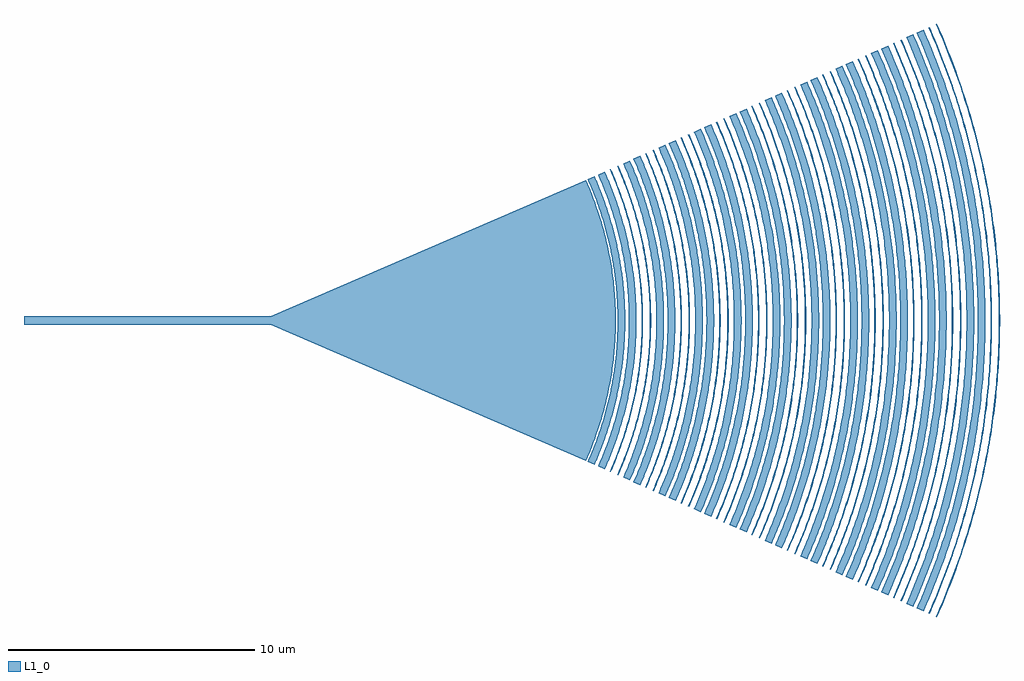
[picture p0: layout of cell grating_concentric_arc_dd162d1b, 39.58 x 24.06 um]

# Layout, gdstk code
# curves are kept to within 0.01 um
import gdstk
lib = gdstk.Library(unit=1e-6, precision=2e-09)
def R(c, l, rs):  # rectangles x0, y0, x1, y1
    for r in rs: c.add(gdstk.rectangle(r[:2], r[2:], *l))
def P(c, l, *ps):  # polygons
    for p in ps: c.add(gdstk.Polygon(p, *l))
L1_0 = (1, 0)

straight_3aa2beef = lib.new_cell('straight_3aa2beef')
R(straight_3aa2beef, L1_0, [(0,-0.174,10,0.174)])

ring_bf5ba368_transform_ = lib.new_cell('ring_bf5ba368_transform_f8fbc0c1')
P(ring_bf5ba368_transform_, L1_0, [(12.86,-5.726),(13.142,-5.044),(13.388,-4.35),(13.576,-3.722),(13.752,-3.006),(13.89,-2.282),(13.982,-1.634),(14.048,-0.9),(14.076,-0.164),(14.062,0.654),(14.016,1.308),(13.916,2.122),(13.786,2.846),(13.618,3.564),(13.388,4.35),(13.142,5.044),(12.86,5.726),(13.138,5.85),(13.456,5.076),(13.678,4.444),(13.892,3.722),(14.084,2.908),(14.242,2.002),(14.334,1.17),(14.378,0.334),(14.378,-0.334),(14.334,-1.17),(14.23,-2.084),(14.05,-3.072),(13.87,-3.802),(13.57,-4.762),(13.366,-5.31),(13.138,-5.85)])

ring_9eca35da_transform_ = lib.new_cell('ring_9eca35da_transform_1195cf25')
P(ring_9eca35da_transform_, L1_0, [(13.278,-5.912),(13.538,-5.288),(13.77,-4.652),(13.948,-4.088),(14.162,-3.27),(14.328,-2.44),(14.426,-1.772),(14.51,-0.846),(14.532,-0.254),(14.528,0.422),(14.486,1.182),(14.368,2.19),(14.234,2.938),(14.082,3.598),(13.822,4.492),(13.538,5.288),(13.278,5.912),(13.556,6.036),(13.822,5.398),(14.086,4.668),(14.354,3.758),(14.55,2.916),(14.694,2.066),(14.79,1.208),(14.834,0.346),(14.83,-0.518),(14.758,-1.552),(14.656,-2.322),(14.478,-3.254),(14.264,-4.09),(13.944,-5.076),(13.556,-6.036)])

ring_5c883659_transform_ = lib.new_cell('ring_5c883659_transform_ef72cd30')
P(ring_5c883659_transform_, L1_0, [(13.754,-6.124),(13.926,-5.722),(14.056,-5.396),(14.292,-4.736),(14.424,-4.318),(14.52,-3.982),(14.69,-3.302),(14.78,-2.872),(14.842,-2.528),(14.91,-2.096),(14.974,-1.574),(15.02,-1.05),(15.036,-0.788),(15.056,-0.088),(15.05,0.438),(15.036,0.788),(15.02,1.05),(14.974,1.574),(14.91,2.096),(14.78,2.872),(14.63,3.558),(14.52,3.982),(14.424,4.318),(14.292,4.736),(14.118,5.232),(13.96,5.64),(13.754,6.124),(13.796,6.142),(13.936,5.82),(14.1,5.412),(14.222,5.082),(14.364,4.666),(14.518,4.162),(14.61,3.824),(14.716,3.398),(14.808,2.968),(14.93,2.276),(15.02,1.578),(15.06,1.142),(15.082,0.79),(15.102,0.176),(15.102,-0.176),(15.094,-0.528),(15.072,-0.966),(15.02,-1.578),(14.99,-1.84),(14.93,-2.276),(14.858,-2.708),(14.716,-3.398),(14.518,-4.162),(14.364,-4.666),(14.222,-5.082),(14.036,-5.576),(13.868,-5.982),(13.796,-6.142)])

ring_19416ff2_transform_ = lib.new_cell('ring_19416ff2_transform_74f79052')
P(ring_19416ff2_transform_, L1_0, [(14.054,-6.258),(14.298,-5.68),(14.426,-5.346),(14.604,-4.84),(14.764,-4.326),(14.884,-3.896),(15.03,-3.286),(15.166,-2.584),(15.27,-1.874),(15.31,-1.52),(15.346,-1.074),(15.376,-0.536),(15.384,-0.18),(15.376,0.536),(15.364,0.806),(15.31,1.52),(15.222,2.23),(15.102,2.936),(15.03,3.286),(14.928,3.722),(14.764,4.326),(14.604,4.84),(14.426,5.346),(14.264,5.764),(14.054,6.258),(14.096,6.276),(14.24,5.946),(14.374,5.614),(14.53,5.194),(14.704,4.684),(14.906,3.994),(15.016,3.558),(15.094,3.208),(15.148,2.944),(15.242,2.414),(15.294,2.058),(15.356,1.524),(15.41,0.808),(15.432,0),(15.41,-0.808),(15.356,-1.524),(15.294,-2.058),(15.242,-2.414),(15.148,-2.944),(15.056,-3.384),(14.928,-3.908),(14.834,-4.254),(14.62,-4.938),(14.374,-5.614),(14.17,-6.112),(14.096,-6.276)])

ring_ba88b84a_transform_ = lib.new_cell('ring_ba88b84a_transform_d4c79ce2')
P(ring_ba88b84a_transform_, L1_0, [(14.296,-6.364),(14.576,-5.692),(14.826,-5.008),(15.092,-4.138),(15.288,-3.342),(15.442,-2.538),(15.532,-1.908),(15.604,-1.182),(15.648,-0.182),(15.636,0.638),(15.572,1.546),(15.484,2.268),(15.326,3.164),(15.116,4.05),(14.882,4.836),(14.642,5.522),(14.296,6.364),(14.574,6.488),(14.894,5.718),(15.144,5.018),(15.434,4.04),(15.624,3.226),(15.772,2.404),(15.876,1.576),(15.944,0.556),(15.948,-0.372),(15.932,-0.834),(15.876,-1.576),(15.772,-2.404),(15.624,-3.226),(15.386,-4.218),(15.144,-5.018),(14.992,-5.456),(14.574,-6.488)])

ring_bd938e3c_transform_ = lib.new_cell('ring_bd938e3c_transform_604e341a')
P(ring_bd938e3c_transform_, L1_0, [(14.714,-6.55),(15.07,-5.684),(15.318,-4.976),(15.508,-4.35),(15.714,-3.532),(15.878,-2.704),(15.986,-1.962),(16.06,-1.216),(16.104,-0.282),(16.096,0.562),(16.036,1.498),(15.936,2.334),(15.792,3.166),(15.604,3.988),(15.318,4.976),(15.07,5.684),(14.714,6.55),(14.992,6.674),(15.32,5.882),(15.666,4.89),(15.924,3.97),(16.11,3.132),(16.264,2.19),(16.364,1.24),(16.404,0.478),(16.404,-0.478),(16.34,-1.526),(16.238,-2.378),(16.072,-3.318),(15.852,-4.248),(15.666,-4.89),(15.486,-5.432),(15.252,-6.058),(14.992,-6.674)])

ring_3305d706_transform_ = lib.new_cell('ring_3305d706_transform_2c88f9b2')
P(ring_3305d706_transform_, L1_0, [(15.19,-6.764),(15.344,-6.408),(15.524,-5.958),(15.754,-5.322),(15.984,-4.584),(16.062,-4.304),(16.224,-3.646),(16.376,-2.888),(16.424,-2.602),(16.516,-1.93),(16.556,-1.546),(16.6,-0.966),(16.618,-0.58),(16.628,-0.096),(16.626,0.29),(16.61,0.774),(16.588,1.16),(16.556,1.546),(16.516,1.93),(16.424,2.602),(16.304,3.268),(16.224,3.646),(16.134,4.022),(16.062,4.304),(15.902,4.862),(15.754,5.322),(15.626,5.688),(15.418,6.228),(15.19,6.764),(15.232,6.782),(15.424,6.336),(15.602,5.884),(15.798,5.336),(15.918,4.968),(16.132,4.222),(16.226,3.846),(16.35,3.276),(16.422,2.896),(16.526,2.224),(16.612,1.454),(16.652,0.872),(16.668,0.484),(16.674,-0.194),(16.664,-0.582),(16.634,-1.164),(16.612,-1.454),(16.562,-1.936),(16.526,-2.224),(16.422,-2.896),(16.35,-3.276),(16.248,-3.75),(16.132,-4.222),(16.002,-4.69),(15.918,-4.968),(15.702,-5.612),(15.532,-6.066),(15.272,-6.694),(15.232,-6.782)])

ring_4e1433a2_transform_ = lib.new_cell('ring_4e1433a2_transform_dbc13497')
P(ring_4e1433a2_transform_, L1_0, [(15.49,-6.896),(15.722,-6.352),(15.866,-5.984),(16.096,-5.334),(16.3,-4.674),(16.404,-4.294),(16.566,-3.622),(16.716,-2.848),(16.792,-2.36),(16.854,-1.87),(16.908,-1.282),(16.934,-0.888),(16.956,-0.198),(16.95,0.494),(16.934,0.888),(16.884,1.576),(16.854,1.87),(16.778,2.458),(16.716,2.848),(16.626,3.332),(16.5,3.91),(16.404,4.294),(16.216,4.958),(16.064,5.428),(15.866,5.984),(15.722,6.352),(15.49,6.896),(15.534,6.916),(15.766,6.37),(15.91,6),(16.044,5.63),(16.202,5.16),(16.372,4.592),(16.45,4.306),(16.632,3.536),(16.728,3.05),(16.81,2.562),(16.9,1.876),(16.946,1.384),(16.98,0.89),(16.996,0.494),(17.004,0),(16.996,-0.494),(16.98,-0.89),(16.946,-1.384),(16.9,-1.876),(16.852,-2.268),(16.762,-2.856),(16.672,-3.342),(16.59,-3.728),(16.45,-4.306),(16.372,-4.592),(16.232,-5.066),(16.044,-5.63),(15.91,-6),(15.766,-6.37),(15.574,-6.826),(15.534,-6.916)])

ring_1c526466_transform_ = lib.new_cell('ring_1c526466_transform_a17cb004')
P(ring_1c526466_transform_, L1_0, [(15.732,-7.004),(16.076,-6.172),(16.378,-5.322),(16.608,-4.554),(16.824,-3.678),(16.976,-2.892),(17.116,-1.9),(17.186,-1.102),(17.22,-0.2),(17.202,0.802),(17.116,1.9),(16.976,2.892),(16.824,3.678),(16.608,4.554),(16.378,5.322),(16.076,6.172),(15.732,7.004),(16.01,7.128),(16.398,6.186),(16.73,5.222),(17.03,4.14),(17.204,3.344),(17.354,2.44),(17.468,1.426),(17.518,0.51),(17.518,-0.51),(17.45,-1.628),(17.326,-2.64),(17.164,-3.544),(16.902,-4.634),(16.668,-5.416),(16.434,-6.09),(16.01,-7.128)])

ring_42cabad4_transform_ = lib.new_cell('ring_42cabad4_transform_cdd21b77')
P(ring_42cabad4_transform_, L1_0, [(16.15,-7.19),(16.504,-6.336),(16.748,-5.658),(17.022,-4.774),(17.248,-3.876),(17.41,-3.07),(17.534,-2.256),(17.628,-1.336),(17.676,-0.308),(17.668,0.616),(17.602,1.644),(17.492,2.562),(17.334,3.474),(17.128,4.376),(16.844,5.364),(16.504,6.336),(16.15,7.19),(16.428,7.314),(16.826,6.346),(17.134,5.458),(17.37,4.654),(17.612,3.636),(17.762,2.814),(17.884,1.88),(17.964,0.836),(17.982,-0.21),(17.932,-1.358),(17.808,-2.502),(17.612,-3.636),(17.37,-4.654),(17.166,-5.358),(16.934,-6.052),(16.674,-6.736),(16.428,-7.314)])

ring_16d4d109_transform_ = lib.new_cell('ring_16d4d109_transform_48991a06')
P(ring_16d4d109_transform_, L1_0, [(16.626,-7.402),(16.754,-7.112),(16.992,-6.522),(17.174,-6.026),(17.31,-5.624),(17.436,-5.22),(17.58,-4.71),(17.71,-4.198),(17.78,-3.888),(17.886,-3.368),(17.976,-2.848),(18.052,-2.324),(18.1,-1.902),(18.14,-1.48),(18.17,-1.058),(18.192,-0.53),(18.2,-0.106),(18.198,0.318),(18.18,0.846),(18.156,1.27),(18.122,1.692),(18.052,2.324),(18.008,2.638),(17.924,3.16),(17.824,3.68),(17.734,4.094),(17.634,4.506),(17.524,4.914),(17.374,5.422),(17.174,6.026),(16.992,6.522),(16.754,7.112),(16.626,7.402),(16.67,7.422),(16.838,7.032),(17.072,6.44),(17.218,6.04),(17.354,5.638),(17.598,4.826),(17.73,4.312),(17.87,3.69),(18.006,2.96),(18.098,2.33),(18.158,1.802),(18.21,1.166),(18.232,0.742),(18.246,0.212),(18.246,-0.212),(18.236,-0.636),(18.21,-1.166),(18.178,-1.59),(18.124,-2.118),(18.006,-2.96),(17.932,-3.378),(17.826,-3.898),(17.73,-4.312),(17.598,-4.826),(17.45,-5.334),(17.218,-6.04),(16.958,-6.736),(16.67,-7.422)])

ring_3a2395d9_transform_ = lib.new_cell('ring_3a2395d9_transform_e63a9028')
P(ring_3a2395d9_transform_, L1_0, [(16.926,-7.536),(17.098,-7.14),(17.26,-6.74),(17.412,-6.338),(17.622,-5.726),(17.75,-5.314),(17.898,-4.796),(18.03,-4.272),(18.124,-3.852),(18.284,-3.004),(18.404,-2.152),(18.468,-1.508),(18.498,-1.078),(18.518,-0.646),(18.528,-0.216),(18.528,0.216),(18.514,0.754),(18.484,1.292),(18.438,1.83),(18.378,2.366),(18.318,2.792),(18.248,3.218),(18.168,3.642),(18.054,4.168),(17.952,4.586),(17.87,4.9),(17.688,5.52),(17.52,6.032),(17.336,6.54),(17.098,7.14),(16.926,7.536),(16.97,7.556),(17.182,7.058),(17.342,6.656),(17.564,6.048),(17.7,5.638),(17.826,5.224),(17.97,4.704),(18.1,4.178),(18.17,3.862),(18.294,3.226),(18.364,2.8),(18.424,2.37),(18.474,1.942),(18.514,1.512),(18.556,0.864),(18.576,0),(18.556,-0.864),(18.514,-1.512),(18.474,-1.942),(18.41,-2.478),(18.33,-3.012),(18.214,-3.65),(18.124,-4.074),(17.998,-4.598),(17.886,-5.016),(17.7,-5.638),(17.564,-6.048),(17.342,-6.656),(17.014,-7.456),(16.97,-7.556)])

ring_f6e0dab2_transform_ = lib.new_cell('ring_f6e0dab2_transform_aa7315fb')
P(ring_f6e0dab2_transform_, L1_0, [(17.168,-7.644),(17.584,-6.632),(17.838,-5.912),(18.124,-4.97),(18.336,-4.12),(18.508,-3.264),(18.666,-2.182),(18.754,-1.202),(18.792,-0.218),(18.782,0.656),(18.722,1.638),(18.61,2.616),(18.508,3.264),(18.286,4.334),(18.004,5.39),(17.66,6.428),(17.424,7.04),(17.168,7.644),(17.446,7.768),(17.908,6.636),(18.23,5.69),(18.53,4.62),(18.768,3.534),(18.942,2.438),(19.034,1.554),(19.09,0.556),(19.09,-0.556),(19.066,-1.11),(19.014,-1.776),(18.88,-2.878),(18.68,-3.97),(18.418,-5.05),(18.23,-5.69),(17.984,-6.428),(17.748,-7.05),(17.446,-7.768)])

ring_31722930_transform_ = lib.new_cell('ring_31722930_transform_5c1e1387')
P(ring_31722930_transform_, L1_0, [(17.586,-7.83),(18.012,-6.794),(18.308,-5.948),(18.594,-4.982),(18.83,-4.002),(18.996,-3.122),(19.132,-2.124),(19.218,-1.12),(19.25,-0.112),(19.23,0.896),(19.186,1.566),(19.12,2.234),(18.996,3.122),(18.782,4.222),(18.594,4.982),(18.442,5.52),(18.238,6.162),(18.012,6.794),(17.586,7.83),(17.864,7.954),(18.256,7.008),(18.598,6.042),(18.918,4.952),(19.174,3.842),(19.278,3.284),(19.38,2.608),(19.49,1.59),(19.55,0.456),(19.55,-0.456),(19.49,-1.59),(19.364,-2.722),(19.196,-3.732),(18.918,-4.952),(18.734,-5.608),(18.49,-6.366),(18.174,-7.22),(17.864,-7.954)])

ring_9806242c_transform_ = lib.new_cell('ring_9806242c_transform_054669b6')
P(ring_9806242c_transform_, L1_0, [(18.062,-8.042),(18.2,-7.726),(18.418,-7.192),(18.58,-6.762),(18.768,-6.22),(18.942,-5.67),(19.038,-5.34),(19.24,-4.56),(19.316,-4.224),(19.492,-3.32),(19.564,-2.866),(19.652,-2.182),(19.732,-1.264),(19.764,-0.576),(19.772,-0.116),(19.756,0.804),(19.724,1.38),(19.676,1.952),(19.564,2.866),(19.472,3.434),(19.364,3.998),(19.24,4.56),(19.128,5.006),(19.038,5.34),(18.84,6),(18.694,6.438),(18.5,6.978),(18.288,7.514),(18.062,8.042),(18.106,8.06),(18.376,7.424),(18.544,6.994),(18.702,6.562),(18.884,6.014),(18.986,5.684),(19.144,5.13),(19.258,4.682),(19.41,4.008),(19.518,3.442),(19.61,2.872),(19.698,2.186),(19.744,1.728),(19.798,0.922),(19.814,0.462),(19.818,-0.23),(19.786,-1.152),(19.744,-1.728),(19.698,-2.186),(19.642,-2.644),(19.538,-3.328),(19.362,-4.234),(19.258,-4.682),(19.114,-5.24),(18.884,-6.014),(18.702,-6.562),(18.544,-6.994),(18.244,-7.744),(18.106,-8.06)])

ring_eda02c5d_transform_ = lib.new_cell('ring_eda02c5d_transform_861ef589')
P(ring_eda02c5d_transform_, L1_0, [(18.362,-8.176),(18.548,-7.746),(18.724,-7.312),(19.044,-6.434),(19.188,-5.988),(19.386,-5.316),(19.532,-4.75),(19.662,-4.18),(19.754,-3.72),(19.854,-3.144),(19.906,-2.798),(19.978,-2.218),(20.014,-1.868),(20.06,-1.286),(20.084,-0.818),(20.1,-0.234),(20.1,0.234),(20.084,0.818),(20.06,1.286),(20.014,1.868),(19.906,2.798),(19.816,3.376),(19.732,3.836),(19.612,4.408),(19.504,4.862),(19.386,5.316),(19.188,5.988),(19.044,6.434),(18.808,7.094),(18.638,7.53),(18.362,8.176),(18.406,8.194),(18.592,7.764),(18.81,7.22),(19.012,6.67),(19.162,6.226),(19.334,5.666),(19.49,5.102),(19.658,4.418),(19.732,4.074),(19.842,3.498),(19.918,3.036),(19.998,2.456),(20.06,1.872),(20.09,1.522),(20.126,0.938),(20.142,0.468),(20.148,-0.118),(20.136,-0.704),(20.114,-1.172),(20.06,-1.872),(20.012,-2.338),(19.952,-2.804),(19.862,-3.384),(19.778,-3.844),(19.658,-4.418),(19.52,-4.988),(19.366,-5.554),(19.198,-6.114),(19.05,-6.56),(18.81,-7.22),(18.592,-7.764),(18.406,-8.194)])

ring_fd3a5512_transform_ = lib.new_cell('ring_fd3a5512_transform_7abe6b78')
P(ring_fd3a5512_transform_, L1_0, [(18.604,-8.284),(18.97,-7.408),(19.294,-6.518),(19.576,-5.614),(19.87,-4.466),(20.096,-3.302),(20.254,-2.128),(20.33,-1.184),(20.364,-0.236),(20.348,0.83),(20.298,1.656),(20.198,2.6),(20.076,3.42),(19.87,4.466),(19.702,5.156),(19.51,5.84),(19.294,6.518),(19.096,7.076),(18.838,7.738),(18.604,8.284),(18.882,8.408),(19.254,7.52),(19.658,6.388),(19.966,5.35),(20.218,4.298),(20.396,3.352),(20.544,2.28),(20.642,1.082),(20.67,-0.12),(20.628,-1.322),(20.516,-2.518),(20.356,-3.59),(20.218,-4.298),(20.056,-5),(19.802,-5.928),(19.544,-6.73),(19.254,-7.52),(18.932,-8.298),(18.882,-8.408)])

ring_7c647225_transform_ = lib.new_cell('ring_7c647225_transform_cc4d7c0c')
P(ring_7c647225_transform_, L1_0, [(19.022,-8.47),(19.396,-7.574),(19.766,-6.55),(20.112,-5.39),(20.342,-4.448),(20.566,-3.258),(20.682,-2.418),(20.78,-1.332),(20.822,-0.122),(20.8,0.968),(20.732,1.936),(20.62,2.898),(20.506,3.616),(20.316,4.566),(20.144,5.272),(19.948,5.972),(19.766,6.55),(19.524,7.236),(19.306,7.8),(19.022,8.47),(19.3,8.594),(19.68,7.686),(20.054,6.646),(20.342,5.706),(20.5,5.112),(20.666,4.392),(20.886,3.184),(21.036,1.964),(21.11,0.86),(21.126,0.246),(21.122,-0.492),(21.092,-1.228),(21.046,-1.842),(20.922,-2.94),(20.738,-4.032),(20.47,-5.23),(20.24,-6.06),(19.936,-6.994),(19.68,-7.686),(19.3,-8.594)])

ring_21481630_transform_ = lib.new_cell('ring_21481630_transform_8c69245f')
P(ring_21481630_transform_, L1_0, [(19.498,-8.682),(19.696,-8.226),(19.926,-7.65),(20.182,-6.948),(20.3,-6.596),(20.552,-5.764),(20.74,-5.044),(20.852,-4.56),(20.976,-3.95),(21.062,-3.462),(21.154,-2.848),(21.228,-2.232),(21.274,-1.736),(21.308,-1.242),(21.336,-0.62),(21.344,-0.124),(21.336,0.62),(21.308,1.242),(21.274,1.736),(21.228,2.232),(21.154,2.848),(21.082,3.338),(20.976,3.95),(20.904,4.316),(20.798,4.802),(20.68,5.284),(20.552,5.764),(20.412,6.24),(20.222,6.832),(20.014,7.416),(19.744,8.11),(19.498,8.682),(19.542,8.7),(19.738,8.244),(19.926,7.782),(20.142,7.2),(20.306,6.728),(20.528,6.016),(20.63,5.656),(20.786,5.054),(20.924,4.448),(21.022,3.96),(21.128,3.346),(21.2,2.854),(21.274,2.236),(21.33,1.616),(21.374,0.87),(21.39,0.248),(21.39,-0.248),(21.362,-1.12),(21.31,-1.864),(21.246,-2.484),(21.2,-2.854),(21.088,-3.592),(21.022,-3.96),(20.898,-4.57),(20.786,-5.054),(20.63,-5.656),(20.42,-6.372),(20.226,-6.964),(19.926,-7.782),(19.642,-8.472),(19.542,-8.7)])

ring_501ca70f_transform_ = lib.new_cell('ring_501ca70f_transform_032e09d8')
P(ring_501ca70f_transform_, L1_0, [(19.8,-8.816),(20.048,-8.236),(20.234,-7.766),(20.45,-7.176),(20.612,-6.698),(20.726,-6.336),(20.902,-5.732),(21.06,-5.12),(21.2,-4.506),(21.322,-3.888),(21.426,-3.266),(21.48,-2.892),(21.554,-2.266),(21.6,-1.764),(21.644,-1.134),(21.672,-0.252),(21.67,0.378),(21.65,1.008),(21.62,1.512),(21.554,2.266),(21.512,2.642),(21.426,3.266),(21.322,3.888),(21.226,4.382),(21.118,4.876),(20.998,5.366),(20.902,5.732),(20.726,6.336),(20.492,7.056),(20.234,7.766),(20.048,8.236),(19.8,8.816),(19.842,8.834),(20.09,8.254),(20.322,7.666),(20.536,7.072),(20.696,6.592),(20.808,6.23),(21.012,5.5),(21.134,5.008),(21.296,4.268),(21.412,3.648),(21.472,3.272),(21.558,2.646),(21.614,2.144),(21.676,1.388),(21.702,0.884),(21.714,0.506),(21.72,-0.126),(21.702,-0.884),(21.676,-1.388),(21.626,-2.018),(21.572,-2.522),(21.526,-2.898),(21.412,-3.648),(21.296,-4.268),(21.218,-4.64),(21.104,-5.132),(20.98,-5.622),(20.808,-6.23),(20.618,-6.832),(20.366,-7.548),(20.09,-8.254),(19.842,-8.834)])

ring_dbfaccf9_transform_ = lib.new_cell('ring_dbfaccf9_transform_45eb184a')
P(ring_dbfaccf9_transform_, L1_0, [(20.04,-8.922),(20.48,-7.862),(20.864,-6.778),(21.19,-5.678),(21.458,-4.56),(21.626,-3.684),(21.774,-2.674),(21.884,-1.53),(21.936,-0.256),(21.924,0.766),(21.874,1.658),(21.774,2.674),(21.626,3.684),(21.484,4.436),(21.346,5.058),(21.016,6.292),(20.824,6.9),(20.526,7.742),(20.04,8.922),(20.318,9.046),(20.574,8.452),(20.81,7.85),(21.232,6.626),(21.55,5.506),(21.808,4.37),(22.026,3.096),(22.146,2.068),(22.224,0.906),(22.242,0.13),(22.236,-0.518),(22.168,-1.81),(22.026,-3.096),(21.808,-4.37),(21.55,-5.506),(21.308,-6.378),(20.988,-7.364),(20.718,-8.092),(20.318,-9.046)])

ring_972503a4_transform_ = lib.new_cell('ring_972503a4_transform_6364b546')
P(ring_972503a4_transform_, L1_0, [(20.458,-9.108),(20.86,-8.146),(21.258,-7.044),(21.632,-5.796),(21.878,-4.784),(22.098,-3.632),(22.258,-2.47),(22.364,-1.172),(22.394,-0.13),(22.376,0.912),(22.298,2.082),(22.194,2.988),(22.054,3.888),(21.932,4.528),(21.76,5.292),(21.416,6.548),(21.044,7.66),(20.764,8.388),(20.458,9.108),(20.736,9.232),(21.192,8.134),(21.588,7.014),(21.96,5.748),(22.23,4.59),(22.46,3.29),(22.588,2.242),(22.644,1.584),(22.686,0.792),(22.696,-0.396),(22.668,-1.188),(22.624,-1.846),(22.478,-3.16),(22.282,-4.332),(22.118,-5.106),(21.96,-5.748),(21.708,-6.636),(21.462,-7.39),(21.144,-8.258),(20.79,-9.112),(20.736,-9.232)])

ring_67c76529_transform_ = lib.new_cell('ring_67c76529_transform_bd4daeb8')
P(ring_67c76529_transform_, L1_0, [(20.934,-9.32),(21.198,-8.708),(21.442,-8.088),(21.58,-7.712),(21.794,-7.082),(21.954,-6.572),(22.136,-5.932),(22.268,-5.414),(22.388,-4.894),(22.496,-4.372),(22.568,-3.98),(22.694,-3.19),(22.762,-2.66),(22.828,-1.998),(22.87,-1.466),(22.898,-0.932),(22.916,-0.134),(22.91,0.534),(22.892,1.066),(22.87,1.466),(22.804,2.262),(22.762,2.66),(22.694,3.19),(22.568,3.98),(22.47,4.504),(22.388,4.894),(22.236,5.544),(22.136,5.932),(21.876,6.828),(21.668,7.46),(21.442,8.088),(21.198,8.708),(20.934,9.32),(20.978,9.34),(21.19,8.85),(21.39,8.354),(21.624,7.728),(21.798,7.222),(21.96,6.714),(22.146,6.072),(22.344,5.296),(22.462,4.774),(22.566,4.25),(22.68,3.592),(22.776,2.932),(22.838,2.4),(22.898,1.736),(22.932,1.202),(22.96,0.4),(22.962,-0.268),(22.944,-0.934),(22.916,-1.468),(22.876,-2.002),(22.808,-2.666),(22.74,-3.196),(22.614,-3.988),(22.516,-4.512),(22.404,-5.036),(22.248,-5.684),(22.074,-6.33),(21.92,-6.842),(21.712,-7.476),(21.486,-8.104),(21.19,-8.85),(20.978,-9.34)])

ring_1f2b65d9_transform_ = lib.new_cell('ring_1f2b65d9_transform_05e23018')
P(ring_1f2b65d9_transform_, L1_0, [(21.236,-9.454),(21.502,-8.832),(21.75,-8.204),(22.066,-7.312),(22.23,-6.796),(22.382,-6.278),(22.522,-5.754),(22.68,-5.098),(22.818,-4.436),(22.938,-3.77),(23.038,-3.102),(23.104,-2.564),(23.168,-1.892),(23.198,-1.486),(23.226,-0.946),(23.244,-0.27),(23.242,0.406),(23.226,0.946),(23.198,1.486),(23.132,2.296),(23.038,3.102),(22.98,3.502),(22.892,4.036),(22.792,4.568),(22.68,5.098),(22.522,5.754),(22.382,6.278),(22.19,6.926),(21.934,7.696),(21.75,8.204),(21.502,8.832),(21.236,9.454),(21.278,9.474),(21.492,8.976),(21.696,8.474),(21.978,7.71),(22.194,7.068),(22.39,6.42),(22.532,5.898),(22.664,5.372),(22.838,4.578),(22.938,4.044),(23.026,3.51),(23.102,2.972),(23.178,2.3),(23.214,1.894),(23.26,1.218),(23.286,0.542),(23.292,-0.136),(23.282,-0.678),(23.26,-1.218),(23.214,-1.894),(23.15,-2.57),(23.084,-3.108),(22.984,-3.778),(22.89,-4.312),(22.754,-4.976),(22.6,-5.634),(22.462,-6.16),(22.314,-6.68),(22.11,-7.326),(21.84,-8.094),(21.596,-8.726),(21.278,-9.474)])

ring_8e4bdd8d_transform_ = lib.new_cell('ring_8e4bdd8d_transform_3c77fa6b')
P(ring_8e4bdd8d_transform_, L1_0, [(21.476,-9.562),(21.948,-8.424),(22.316,-7.394),(22.522,-6.742),(22.708,-6.084),(22.996,-4.888),(23.22,-3.678),(23.366,-2.594),(23.47,-1.366),(23.508,-0.274),(23.49,0.958),(23.442,1.776),(23.334,2.866),(23.176,3.948),(23.024,4.754),(22.876,5.422),(22.522,6.742),(22.092,8.04),(21.798,8.806),(21.476,9.562),(21.754,9.686),(22.028,9.05),(22.282,8.404),(22.648,7.358),(22.814,6.83),(23.038,6.03),(23.294,4.952),(23.428,4.272),(23.542,3.588),(23.698,2.352),(23.756,1.662),(23.8,0.832),(23.812,-0.278),(23.8,-0.832),(23.756,-1.662),(23.636,-2.902),(23.542,-3.588),(23.428,-4.272),(23.294,-4.952),(23.106,-5.762),(22.814,-6.83),(22.56,-7.622),(22.282,-8.404),(21.866,-9.432),(21.754,-9.686)])

ring_7f006414_transform_ = lib.new_cell('ring_7f006414_transform_edf69672')
P(ring_7f006414_transform_, L1_0, [(21.894,-9.748),(22.116,-9.236),(22.424,-8.458),(22.794,-7.406),(23.114,-6.338),(23.414,-5.12),(23.672,-3.75),(23.82,-2.644),(23.918,-1.532),(23.966,-0.14),(23.96,0.558),(23.934,1.254),(23.85,2.366),(23.714,3.474),(23.578,4.298),(23.414,5.12),(23.288,5.662),(23.114,6.338),(22.878,7.14),(22.424,8.458),(22.222,8.978),(21.894,9.748),(22.172,9.872),(22.71,8.566),(23.084,7.5),(23.292,6.826),(23.48,6.146),(23.77,4.908),(23.994,3.658),(24.09,2.958),(24.166,2.256),(24.222,1.552),(24.256,0.848),(24.268,-0.424),(24.202,-1.834),(24.138,-2.538),(24.054,-3.238),(23.95,-3.936),(23.826,-4.632),(23.516,-6.008),(23.292,-6.826),(23.04,-7.634),(22.71,-8.566),(22.286,-9.614),(22.172,-9.872)])

ring_df6470ab_transform_ = lib.new_cell('ring_df6470ab_transform_bdb70f53')
P(ring_df6470ab_transform_, L1_0, [(22.372,-9.96),(22.652,-9.306),(22.862,-8.776),(23.108,-8.108),(23.29,-7.568),(23.46,-7.024),(23.654,-6.338),(23.828,-5.648),(23.954,-5.092),(24.066,-4.532),(24.164,-3.972),(24.27,-3.266),(24.354,-2.56),(24.408,-1.992),(24.462,-1.14),(24.482,-0.57),(24.488,-0.142),(24.482,0.57),(24.462,1.14),(24.408,1.992),(24.354,2.56),(24.27,3.266),(24.164,3.972),(24.066,4.532),(23.954,5.092),(23.828,5.648),(23.654,6.338),(23.46,7.024),(23.334,7.432),(23.108,8.108),(22.862,8.776),(22.652,9.306),(22.372,9.96),(22.414,9.98),(22.64,9.456),(22.906,8.792),(23.152,8.122),(23.378,7.446),(23.624,6.626),(23.736,6.212),(23.874,5.658),(24.028,4.962),(24.138,4.4),(24.276,3.556),(24.37,2.848),(24.416,2.422),(24.476,1.712),(24.502,1.284),(24.532,0.428),(24.534,-0.286),(24.52,-0.856),(24.476,-1.712),(24.416,-2.422),(24.37,-2.848),(24.316,-3.274),(24.21,-3.98),(24.084,-4.682),(23.938,-5.38),(23.772,-6.074),(23.624,-6.626),(23.378,-7.446),(23.198,-7.988),(22.906,-8.792),(22.64,-9.456),(22.414,-9.98)])

ring_1bdaf576_transform_ = lib.new_cell('ring_1bdaf576_transform_0e898713')
P(ring_1bdaf576_transform_, L1_0, [(22.672,-10.094),(22.956,-9.43),(23.168,-8.894),(23.37,-8.352),(23.558,-7.806),(23.816,-6.98),(23.972,-6.424),(24.148,-5.724),(24.244,-5.3),(24.362,-4.736),(24.464,-4.168),(24.576,-3.454),(24.65,-2.882),(24.71,-2.306),(24.766,-1.588),(24.802,-0.866),(24.816,-0.288),(24.816,0.288),(24.802,0.866),(24.766,1.588),(24.71,2.306),(24.65,2.882),(24.576,3.454),(24.44,4.31),(24.334,4.876),(24.244,5.3),(24.08,6.004),(23.934,6.562),(23.69,7.394),(23.418,8.216),(23.22,8.758),(22.956,9.43),(22.672,10.094),(22.714,10.112),(22.944,9.582),(23.264,8.776),(23.462,8.232),(23.692,7.546),(23.9,6.854),(24.054,6.296),(24.194,5.734),(24.35,5.028),(24.486,4.318),(24.558,3.89),(24.642,3.318),(24.728,2.598),(24.782,2.022),(24.83,1.302),(24.854,0.724),(24.864,-0.144),(24.854,-0.724),(24.83,-1.302),(24.782,-2.022),(24.728,-2.598),(24.642,-3.318),(24.558,-3.89),(24.434,-4.602),(24.29,-5.31),(24.126,-6.016),(23.94,-6.714),(23.778,-7.27),(23.556,-7.958),(23.264,-8.776),(22.944,-9.582),(22.714,-10.112)])

ring_5a492cd1_transform_ = lib.new_cell('ring_5a492cd1_transform_84d4b445')
P(ring_5a492cd1_transform_, L1_0, [(22.912,-10.202),(23.416,-8.988),(23.854,-7.75),(24.226,-6.492),(24.502,-5.358),(24.7,-4.356),(24.816,-3.636),(24.912,-2.912),(25.03,-1.604),(25.08,-0.292),(25.066,0.876),(25.01,1.896),(24.876,3.202),(24.7,4.356),(24.502,5.358),(24.336,6.068),(23.986,7.332),(23.762,8.028),(23.518,8.716),(23.2,9.53),(22.912,10.202),(23.192,10.326),(23.7,9.098),(24.144,7.844),(24.362,7.14),(24.558,6.428),(24.862,5.134),(25.026,4.262),(25.118,3.68),(25.214,2.948),(25.29,2.212),(25.376,0.738),(25.382,-0.444),(25.358,-1.182),(25.314,-1.918),(25.178,-3.24),(25.074,-3.972),(24.948,-4.698),(24.832,-5.278),(24.632,-6.142),(24.362,-7.14),(24.098,-7.984),(23.804,-8.822),(23.426,-9.782),(23.192,-10.326)])

ring_fe35cc99_transform_ = lib.new_cell('ring_fe35cc99_transform_bde71e2c')
P(ring_fe35cc99_transform_, L1_0, [(23.33,-10.388),(23.842,-9.152),(24.288,-7.892),(24.63,-6.754),(24.816,-6.034),(24.98,-5.31),(25.224,-3.996),(25.33,-3.26),(25.414,-2.522),(25.504,-1.336),(25.538,-0.148),(25.518,1.04),(25.442,2.226),(25.33,3.26),(25.124,4.58),(24.98,5.31),(24.816,6.034),(24.466,7.324),(24.242,8.032),(23.998,8.734),(23.734,9.428),(23.33,10.388),(23.608,10.512),(23.848,9.96),(24.126,9.262),(24.578,7.986),(24.924,6.834),(25.112,6.106),(25.31,5.226),(25.548,3.894),(25.632,3.298),(25.732,2.402),(25.8,1.502),(25.828,0.902),(25.84,-0.452),(25.816,-1.202),(25.77,-1.952),(25.632,-3.298),(25.424,-4.636),(25.31,-5.226),(25.076,-6.252),(24.842,-7.124),(24.532,-8.128),(24.18,-9.12),(23.848,-9.96),(23.608,-10.512)])

ring_a48ec026_transform_ = lib.new_cell('ring_a48ec026_transform_ccf08558')
P(ring_a48ec026_transform_, L1_0, [(23.808,-10.6),(24.048,-10.042),(24.33,-9.34),(24.59,-8.628),(24.832,-7.908),(24.966,-7.474),(25.212,-6.598),(25.358,-6.01),(25.522,-5.27),(25.638,-4.674),(25.74,-4.076),(25.848,-3.326),(25.918,-2.724),(25.962,-2.272),(26.008,-1.666),(26.05,-0.758),(26.06,-0.152),(26.054,0.606),(26.032,1.212),(26.008,1.666),(25.948,2.422),(25.884,3.026),(25.786,3.776),(25.638,4.674),(25.522,5.27),(25.358,6.01),(25.212,6.598),(24.966,7.474),(24.832,7.908),(24.59,8.628),(24.33,9.34),(24.106,9.902),(23.808,10.6),(23.85,10.618),(24.032,10.2),(24.374,9.356),(24.584,8.786),(24.83,8.068),(25.054,7.342),(25.218,6.756),(25.404,6.02),(25.568,5.28),(25.684,4.682),(25.832,3.784),(25.894,3.332),(25.98,2.578),(26.044,1.822),(26.072,1.366),(26.092,0.912),(26.108,0),(26.092,-0.912),(26.072,-1.366),(26.008,-2.276),(25.948,-2.88),(25.874,-3.482),(25.762,-4.234),(25.628,-4.982),(25.472,-5.724),(25.332,-6.316),(25.138,-7.05),(24.922,-7.778),(24.734,-8.356),(24.428,-9.214),(24.206,-9.78),(23.85,-10.618)])

ring_854ab84c_transform_ = lib.new_cell('ring_854ab84c_transform_c173d5d0')
P(ring_854ab84c_transform_, L1_0, [(24.108,-10.734),(24.41,-10.028),(24.636,-9.456),(24.85,-8.882),(25.098,-8.154),(25.324,-7.422),(25.53,-6.682),(25.678,-6.086),(25.844,-5.336),(25.962,-4.734),(26.088,-3.976),(26.174,-3.368),(26.26,-2.606),(26.336,-1.688),(26.368,-1.074),(26.386,-0.46),(26.39,0),(26.386,0.46),(26.368,1.074),(26.336,1.688),(26.26,2.606),(26.174,3.368),(26.088,3.976),(25.962,4.734),(25.844,5.336),(25.678,6.086),(25.53,6.682),(25.236,7.716),(25.05,8.3),(24.798,9.026),(24.468,9.886),(24.108,10.734),(24.15,10.752),(24.394,10.188),(24.68,9.474),(24.894,8.896),(25.142,8.17),(25.326,7.582),(25.574,6.694),(25.724,6.096),(25.89,5.346),(26.034,4.59),(26.134,3.984),(26.22,3.374),(26.322,2.458),(26.372,1.844),(26.408,1.23),(26.432,0.462),(26.436,-0.154),(26.42,-0.922),(26.392,-1.538),(26.336,-2.304),(26.274,-2.916),(26.2,-3.526),(26.086,-4.288),(25.95,-5.044),(25.826,-5.646),(25.688,-6.246),(25.454,-7.138),(25.236,-7.876),(25.046,-8.462),(24.842,-9.042),(24.68,-9.474),(24.394,-10.188),(24.15,-10.752)])

ring_1a8dca5c_transform_ = lib.new_cell('ring_1a8dca5c_transform_a957562d')
P(ring_1a8dca5c_transform_, L1_0, [(24.348,-10.84),(24.882,-9.552),(25.3,-8.384),(25.704,-7.048),(26.038,-5.694),(26.3,-4.322),(26.436,-3.402),(26.508,-2.786),(26.608,-1.55),(26.652,-0.31),(26.642,0.776),(26.608,1.55),(26.552,2.322),(26.436,3.402),(26.248,4.628),(25.97,5.996),(25.824,6.598),(25.534,7.644),(25.3,8.384),(24.992,9.262),(24.654,10.128),(24.348,10.84),(24.628,10.964),(24.936,10.244),(25.224,9.514),(25.49,8.776),(25.734,8.032),(25.914,7.43),(26.158,6.522),(26.432,5.298),(26.674,3.908),(26.842,2.506),(26.912,1.568),(26.942,0.94),(26.954,-0.47),(26.892,-1.88),(26.842,-2.506),(26.738,-3.44),(26.626,-4.218),(26.492,-4.99),(26.336,-5.758),(26.158,-6.522),(25.87,-7.582),(25.59,-8.48),(25.224,-9.514),(24.876,-10.388),(24.628,-10.964)])

ring_bad6a70b_transform_ = lib.new_cell('ring_bad6a70b_transform_b653a246')
P(ring_bad6a70b_transform_, L1_0, [(24.766,-11.026),(25.31,-9.716),(25.784,-8.378),(26.146,-7.168),(26.306,-6.558),(26.518,-5.636),(26.752,-4.396),(26.868,-3.616),(26.962,-2.834),(27.074,-1.418),(27.11,-0.158),(27.088,1.104),(27.008,2.362),(26.868,3.616),(26.642,5.018),(26.518,5.636),(26.306,6.558),(26.104,7.32),(25.88,8.076),(25.422,9.42),(25.136,10.156),(24.766,11.026),(25.046,11.15),(25.594,9.824),(26.074,8.472),(26.482,7.096),(26.816,5.7),(27.078,4.288),(27.17,3.658),(27.282,2.706),(27.386,1.276),(27.414,0.318),(27.414,-0.318),(27.36,-1.754),(27.282,-2.706),(27.17,-3.658),(27.078,-4.288),(26.912,-5.232),(26.748,-6.012),(26.562,-6.786),(26.264,-7.862),(25.974,-8.774),(25.594,-9.824),(25.236,-10.712),(25.046,-11.15)])

ring_7e69c44e_transform_ = lib.new_cell('ring_7e69c44e_transform_b014cb1e')
P(ring_7e69c44e_transform_, L1_0, [(25.244,-11.24),(25.56,-10.5),(25.798,-9.902),(26.074,-9.148),(26.33,-8.386),(26.518,-7.77),(26.732,-6.996),(26.888,-6.372),(27.028,-5.746),(27.184,-4.956),(27.292,-4.322),(27.386,-3.686),(27.482,-2.888),(27.554,-2.088),(27.586,-1.606),(27.616,-0.964),(27.632,-0.16),(27.628,0.482),(27.61,1.126),(27.566,1.928),(27.498,2.728),(27.386,3.686),(27.292,4.322),(27.184,4.956),(27.062,5.588),(26.888,6.372),(26.732,6.996),(26.518,7.77),(26.33,8.386),(26.074,9.148),(25.798,9.902),(25.56,10.5),(25.244,11.24),(25.286,11.258),(25.542,10.666),(25.724,10.22),(25.898,9.768),(26.172,9.012),(26.374,8.4),(26.562,7.784),(26.778,7.008),(26.934,6.384),(27.108,5.598),(27.23,4.964),(27.364,4.17),(27.432,3.692),(27.528,2.894),(27.588,2.252),(27.642,1.448),(27.668,0.806),(27.68,0),(27.668,-0.806),(27.642,-1.448),(27.588,-2.252),(27.528,-2.894),(27.41,-3.852),(27.286,-4.648),(27.14,-5.44),(27.006,-6.07),(26.896,-6.54),(26.694,-7.32),(26.47,-8.092),(26.224,-8.86),(25.898,-9.768),(25.724,-10.22),(25.542,-10.666),(25.286,-11.258)])

ring_bb90392c_transform_ = lib.new_cell('ring_bb90392c_transform_271eba0f')
P(ring_bb90392c_transform_, L1_0, [(25.544,-11.372),(25.802,-10.776),(26.046,-10.172),(26.33,-9.41),(26.542,-8.796),(26.74,-8.176),(26.966,-7.394),(27.17,-6.606),(27.35,-5.814),(27.508,-5.016),(27.642,-4.214),(27.712,-3.73),(27.808,-2.922),(27.882,-2.112),(27.914,-1.626),(27.95,-0.814),(27.962,0),(27.95,0.814),(27.914,1.626),(27.882,2.112),(27.808,2.922),(27.712,3.73),(27.642,4.214),(27.508,5.016),(27.384,5.654),(27.208,6.448),(27.05,7.08),(26.878,7.708),(26.692,8.33),(26.438,9.104),(26.162,9.868),(25.864,10.626),(25.544,11.372),(25.586,11.392),(25.782,10.944),(26.148,10.038),(26.374,9.426),(26.638,8.654),(26.878,7.876),(27.096,7.092),(27.29,6.3),(27.43,5.664),(27.554,5.024),(27.664,4.382),(27.758,3.736),(27.854,2.928),(27.928,2.116),(27.97,1.466),(28.004,0.488),(28.008,-0.162),(27.996,-0.814),(27.97,-1.466),(27.928,-2.116),(27.854,-2.928),(27.758,-3.736),(27.664,-4.382),(27.494,-5.344),(27.362,-5.982),(27.176,-6.776),(26.968,-7.564),(26.832,-8.032),(26.586,-8.81),(26.374,-9.426),(26.03,-10.34),(25.782,-10.944),(25.586,-11.392)])

ring_106ee8c3_transform_ = lib.new_cell('ring_106ee8c3_transform_bd001d86')
P(ring_106ee8c3_transform_, L1_0, [(25.784,-11.48),(26.292,-10.268),(26.634,-9.344),(26.844,-8.722),(27.264,-7.306),(27.574,-6.028),(27.852,-4.578),(28.034,-3.276),(28.168,-1.806),(28.224,-0.328),(28.214,0.82),(28.132,2.296),(27.994,3.602),(27.768,5.062),(27.574,6.028),(27.426,6.668),(27.264,7.306),(26.944,8.41),(26.688,9.19),(26.408,9.962),(26.046,10.878),(25.784,11.48),(26.064,11.604),(26.576,10.378),(26.922,9.446),(27.134,8.816),(27.332,8.182),(27.6,7.224),(27.836,6.256),(27.974,5.606),(28.152,4.626),(28.252,3.97),(28.338,3.312),(28.422,2.486),(28.482,1.658),(28.518,0.83),(28.526,-0.498),(28.472,-1.824),(28.422,-2.486),(28.318,-3.476),(28.204,-4.3),(28.068,-5.118),(27.872,-6.094),(27.682,-6.902),(27.47,-7.704),(27.134,-8.816),(26.81,-9.758),(26.39,-10.842),(26.064,-11.604)])

ring_91663bc0_transform_ = lib.new_cell('ring_91663bc0_transform_e82b4af0')
P(ring_91663bc0_transform_, L1_0, [(26.202,-11.666),(26.468,-11.054),(26.778,-10.278),(27.01,-9.654),(27.278,-8.864),(27.706,-7.424),(28.056,-5.964),(28.33,-4.486),(28.508,-3.164),(28.624,-1.834),(28.68,-0.334),(28.67,0.834),(28.644,1.502),(28.588,2.334),(28.448,3.662),(28.218,5.144),(27.91,6.614),(27.706,7.424),(27.43,8.386),(27.174,9.18),(26.896,9.966),(26.468,11.054),(26.202,11.666),(26.482,11.79),(27.002,10.546),(27.296,9.756),(27.62,8.798),(28,7.502),(28.206,6.684),(28.388,5.862),(28.518,5.2),(28.682,4.202),(28.846,2.862),(28.928,1.854),(28.964,1.18),(28.986,-0.338),(28.964,-1.18),(28.928,-1.854),(28.862,-2.694),(28.772,-3.532),(28.682,-4.202),(28.518,-5.2),(28.354,-6.026),(28.126,-7.012),(27.818,-8.152),(27.516,-9.118),(27.122,-10.23),(26.748,-11.17),(26.482,-11.79)])

ring_b0a98dd9_transform_ = lib.new_cell('ring_b0a98dd9_transform_e3968205')
P(ring_b0a98dd9_transform_, L1_0, [(26.68,-11.878),(27.014,-11.098),(27.326,-10.308),(27.558,-9.668),(27.776,-9.024),(28.026,-8.214),(28.21,-7.558),(28.418,-6.736),(28.602,-5.906),(28.76,-5.072),(28.872,-4.4),(28.966,-3.728),(29.062,-2.884),(29.122,-2.206),(29.156,-1.698),(29.192,-0.85),(29.204,-0.17),(29.2,0.51),(29.18,1.19),(29.134,2.038),(29.062,2.884),(28.966,3.728),(28.872,4.4),(28.76,5.072),(28.602,5.906),(28.418,6.736),(28.296,7.23),(28.074,8.05),(27.828,8.862),(27.614,9.508),(27.326,10.308),(27.014,11.098),(26.68,11.878),(26.722,11.898),(27.058,11.116),(27.308,10.482),(27.602,9.684),(27.82,9.04),(27.974,8.552),(28.21,7.736),(28.424,6.912),(28.612,6.082),(28.746,5.414),(28.892,4.576),(29.034,3.564),(29.108,2.888),(29.168,2.21),(29.212,1.53),(29.244,0.68),(29.252,0),(29.244,-0.68),(29.212,-1.53),(29.168,-2.21),(29.108,-2.888),(29.034,-3.564),(28.892,-4.576),(28.746,-5.414),(28.612,-6.082),(28.424,-6.912),(28.21,-7.736),(27.974,-8.552),(27.82,-9.04),(27.488,-10.004),(27.122,-10.958),(26.722,-11.898)])

ring_07882f6e_transform_ = lib.new_cell('ring_07882f6e_transform_7f865b24')
P(ring_07882f6e_transform_, L1_0, [(26.98,-12.012),(27.252,-11.382),(27.572,-10.584),(27.868,-9.778),(28.088,-9.126),(28.342,-8.306),(28.482,-7.81),(28.698,-6.978),(28.924,-5.972),(29.054,-5.298),(29.17,-4.62),(29.27,-3.94),(29.372,-3.088),(29.436,-2.402),(29.484,-1.718),(29.526,-0.688),(29.534,0),(29.526,0.688),(29.484,1.718),(29.436,2.402),(29.372,3.088),(29.27,3.94),(29.17,4.62),(29.054,5.298),(28.924,5.972),(28.738,6.81),(28.614,7.312),(28.39,8.14),(28.192,8.798),(27.868,9.778),(27.572,10.584),(27.252,11.382),(26.98,12.012),(27.022,12.032),(27.296,11.4),(27.616,10.6),(27.912,9.792),(28.132,9.14),(28.338,8.484),(28.528,7.822),(28.702,7.156),(28.934,6.15),(29.1,5.306),(29.216,4.628),(29.338,3.776),(29.436,2.92),(29.496,2.236),(29.54,1.548),(29.568,0.86),(29.58,-0.172),(29.568,-0.86),(29.52,-1.892),(29.468,-2.578),(29.4,-3.264),(29.316,-3.946),(29.216,-4.628),(29.1,-5.306),(29.004,-5.812),(28.898,-6.318),(28.702,-7.156),(28.482,-7.988),(28.288,-8.648),(28.024,-9.468),(27.676,-10.44),(27.362,-11.24),(27.022,-12.032)])

grating_concentric_arc_d = lib.new_cell('grating_concentric_arc_dd162d1b')
P(grating_concentric_arc_d, L1_0, [(0,0.174),(0,-0.174),(12.79,-5.694),(13.07,-5.018),(13.352,-4.21),(13.554,-3.504),(13.694,-2.91),(13.828,-2.19),(13.936,-1.342),(13.986,-0.61),(14,0),(13.986,0.61),(13.936,1.342),(13.828,2.19),(13.694,2.91),(13.554,3.504),(13.352,4.21),(13.07,5.018),(12.79,5.694)])
grating_concentric_arc_d.add(gdstk.Reference(straight_3aa2beef, (-10,0)))
grating_concentric_arc_d.add(gdstk.Reference(ring_bf5ba368_transform_, (0,0)))
grating_concentric_arc_d.add(gdstk.Reference(ring_9eca35da_transform_, (0,0)))
grating_concentric_arc_d.add(gdstk.Reference(ring_5c883659_transform_, (0,0)))
grating_concentric_arc_d.add(gdstk.Reference(ring_19416ff2_transform_, (0,0)))
grating_concentric_arc_d.add(gdstk.Reference(ring_ba88b84a_transform_, (0,0)))
grating_concentric_arc_d.add(gdstk.Reference(ring_bd938e3c_transform_, (0,0)))
grating_concentric_arc_d.add(gdstk.Reference(ring_3305d706_transform_, (0,0)))
grating_concentric_arc_d.add(gdstk.Reference(ring_4e1433a2_transform_, (0,0)))
grating_concentric_arc_d.add(gdstk.Reference(ring_1c526466_transform_, (0,0)))
grating_concentric_arc_d.add(gdstk.Reference(ring_42cabad4_transform_, (0,0)))
grating_concentric_arc_d.add(gdstk.Reference(ring_16d4d109_transform_, (0,0)))
grating_concentric_arc_d.add(gdstk.Reference(ring_3a2395d9_transform_, (0,0)))
grating_concentric_arc_d.add(gdstk.Reference(ring_f6e0dab2_transform_, (0,0)))
grating_concentric_arc_d.add(gdstk.Reference(ring_31722930_transform_, (0,0)))
grating_concentric_arc_d.add(gdstk.Reference(ring_9806242c_transform_, (0,0)))
grating_concentric_arc_d.add(gdstk.Reference(ring_eda02c5d_transform_, (0,0)))
grating_concentric_arc_d.add(gdstk.Reference(ring_fd3a5512_transform_, (0,0)))
grating_concentric_arc_d.add(gdstk.Reference(ring_7c647225_transform_, (0,0)))
grating_concentric_arc_d.add(gdstk.Reference(ring_21481630_transform_, (0,0)))
grating_concentric_arc_d.add(gdstk.Reference(ring_501ca70f_transform_, (0,0)))
grating_concentric_arc_d.add(gdstk.Reference(ring_dbfaccf9_transform_, (0,0)))
grating_concentric_arc_d.add(gdstk.Reference(ring_972503a4_transform_, (0,0)))
grating_concentric_arc_d.add(gdstk.Reference(ring_67c76529_transform_, (0,0)))
grating_concentric_arc_d.add(gdstk.Reference(ring_1f2b65d9_transform_, (0,0)))
grating_concentric_arc_d.add(gdstk.Reference(ring_8e4bdd8d_transform_, (0,0)))
grating_concentric_arc_d.add(gdstk.Reference(ring_7f006414_transform_, (0,0)))
grating_concentric_arc_d.add(gdstk.Reference(ring_df6470ab_transform_, (0,0)))
grating_concentric_arc_d.add(gdstk.Reference(ring_1bdaf576_transform_, (0,0)))
grating_concentric_arc_d.add(gdstk.Reference(ring_5a492cd1_transform_, (0,0)))
grating_concentric_arc_d.add(gdstk.Reference(ring_fe35cc99_transform_, (0,0)))
grating_concentric_arc_d.add(gdstk.Reference(ring_a48ec026_transform_, (0,0)))
grating_concentric_arc_d.add(gdstk.Reference(ring_854ab84c_transform_, (0,0)))
grating_concentric_arc_d.add(gdstk.Reference(ring_1a8dca5c_transform_, (0,0)))
grating_concentric_arc_d.add(gdstk.Reference(ring_bad6a70b_transform_, (0,0)))
grating_concentric_arc_d.add(gdstk.Reference(ring_7e69c44e_transform_, (0,0)))
grating_concentric_arc_d.add(gdstk.Reference(ring_bb90392c_transform_, (0,0)))
grating_concentric_arc_d.add(gdstk.Reference(ring_106ee8c3_transform_, (0,0)))
grating_concentric_arc_d.add(gdstk.Reference(ring_91663bc0_transform_, (0,0)))
grating_concentric_arc_d.add(gdstk.Reference(ring_b0a98dd9_transform_, (0,0)))
grating_concentric_arc_d.add(gdstk.Reference(ring_07882f6e_transform_, (0,0)))

lib.write_gds('grating_concentric_arc_dd162d1b.gds')
